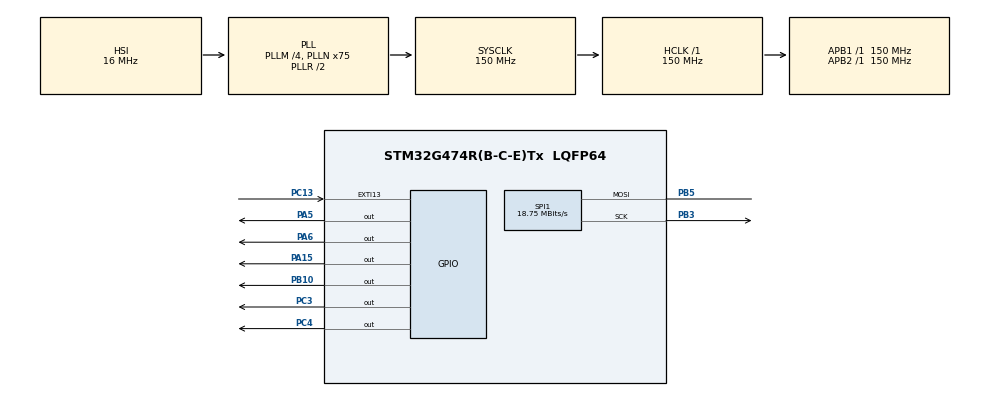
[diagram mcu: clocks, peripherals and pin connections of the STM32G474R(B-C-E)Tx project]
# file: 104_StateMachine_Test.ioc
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Dma.Request0=SPI1_TX
Dma.SPI1_TX.0.Direction=DMA_MEMORY_TO_PERIPH
Dma.SPI1_TX.0.EventEnable=DISABLE
Dma.SPI1_TX.0.Instance=DMA1_Channel1
Dma.SPI1_TX.0.MemDataAlignment=DMA_MDATAALIGN_BYTE
Dma.SPI1_TX.0.MemInc=DMA_MINC_ENABLE
Dma.SPI1_TX.0.Mode=DMA_NORMAL
Dma.SPI1_TX.0.PeriphDataAlignment=DMA_PDATAALIGN_BYTE
Dma.SPI1_TX.0.PeriphInc=DMA_PINC_DISABLE
Dma.SPI1_TX.0.Polarity=HAL_DMAMUX_REQ_GEN_RISING
Dma.SPI1_TX.0.Priority=DMA_PRIORITY_LOW
Dma.SPI1_TX.0.RequestNumber=1
Dma.SPI1_TX.0.SignalID=NONE
Dma.SPI1_TX.0.SyncEnable=DISABLE
Dma.SPI1_TX.0.SyncPolarity=HAL_DMAMUX_SYNC_NO_EVENT
Dma.SPI1_TX.0.SyncRequestNumber=1
Dma.SPI1_TX.0.SyncSignalID=NONE
Mcu.Family=STM32G4
Mcu.Name=STM32G474R(B-C-E)Tx
Mcu.Package=LQFP64
NVIC.DMA1_Channel1_IRQn=true\:0\:0\:false\:false\:true\:false\:true\:true
NVIC.EXTI15_10_IRQn=true\:0\:0\:false\:false\:true\:true\:true\:true
NVIC.PriorityGroup=NVIC_PRIORITYGROUP_4
NVIC.TIM1_TRG_COM_TIM17_IRQn=true\:0\:0\:false\:false\:true\:true\:true\:true
NVIC.TIM1_UP_TIM16_IRQn=true\:0\:0\:false\:false\:true\:true\:true\:true
PA15.Signal=GPIO_Output
PA5.Signal=GPIO_Output
PA6.Signal=GPIO_Output
PB10.Signal=GPIO_Output
PB3.Mode=Simplex_Bidirectional_Master
PB3.Signal=SPI1_SCK
PB5.Mode=Simplex_Bidirectional_Master
PB5.Signal=SPI1_MOSI
PC13.GPIO_ModeDefaultEXTI=GPIO_MODE_IT_FALLING
PC13.Signal=GPXTI13
PC3.Signal=GPIO_Output
PC4.Signal=GPIO_Output
PF0-OSC_IN.Mode=HSE-External-Oscillator
PF0-OSC_IN.Signal=RCC_OSC_IN
PF1-OSC_OUT.Mode=HSE-External-Oscillator
PF1-OSC_OUT.Signal=RCC_OSC_OUT
ProjectManager.HeapSize=0x200
ProjectManager.StackSize=0x400
ProjectManager.TargetToolchain=STM32CubeIDE
RCC.ADC12Freq_Value=150000000
RCC.ADC345Freq_Value=150000000
RCC.AHBFreq_Value=150000000
RCC.APB1Freq_Value=150000000
RCC.APB1TimFreq_Value=150000000
RCC.APB2Freq_Value=150000000
RCC.APB2TimFreq_Value=150000000
RCC.CortexFreq_Value=150000000
RCC.EXTERNAL_CLOCK_VALUE=12288000
RCC.HCLKFreq_Value=150000000
RCC.HSE_VALUE=48000000
RCC.HSI48_VALUE=48000000
RCC.HSI_VALUE=16000000
RCC.LSE_VALUE=32768
RCC.PLLM=RCC_PLLM_DIV4
RCC.PLLN=75
RCC.SYSCLKFreq_VALUE=150000000
RCC.SYSCLKSource=RCC_SYSCLKSOURCE_PLLCLK
RCC.USBFreq_Value=150000000
RCC.VCOOutputFreq_Value=300000000
SPI1.BaudRatePrescaler=SPI_BAUDRATEPRESCALER_8
SPI1.CLKPolarity=SPI_POLARITY_LOW
SPI1.CalculateBaudRate=18.75 MBits/s
SPI1.DataSize=SPI_DATASIZE_8BIT
SPI1.Direction=SPI_DIRECTION_1LINE
SPI1.Mode=SPI_MODE_MASTER
SPI1.VirtualType=VM_MASTER
TIM16.PeriodNoDither=1000
TIM16.Prescaler=15000 - 1
TIM17.PeriodNoDither=20000
TIM17.Prescaler=15000 - 1
VP_SYS_VS_DBSignals.Mode=DisableDeadBatterySignals
VP_TIM16_VS_ClockSourceINT.Mode=Enable_Timer
VP_TIM17_VS_ClockSourceINT.Mode=Enable_Timer
board=custom

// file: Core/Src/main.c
/* USER CODE BEGIN Header */
/**
 ******************************************************************************
 * @file           : main.c
 * @brief          : Main program body
 ******************************************************************************
 * @attention
 *
 * Copyright (c) 2024 STMicroelectronics.
 * All rights reserved.
 *
 * This software is licensed under terms that can be found in the LICENSE file
 * in the root directory of this software component.
 * If no LICENSE file comes with this software, it is provided AS-IS.
 *
 ******************************************************************************
 */
/* USER CODE END Header */
#include "main.h"

/* USER CODE BEGIN Includes */
#include "ST7735.h"
#include "GFX_FUNCTIONS.h"
#include "task_handler.h"
/* USER CODE END Includes */

SPI_HandleTypeDef hspi1;
DMA_HandleTypeDef hdma_spi1_tx;

TIM_HandleTypeDef htim16;
TIM_HandleTypeDef htim17;

/* USER CODE BEGIN PV */
uint8_t button_flag = 0;

/* USER CODE END PV */

void SystemClock_Config(void);
static void MX_GPIO_Init(void);
static void MX_DMA_Init(void);
static void MX_SPI1_Init(void);
static void MX_TIM16_Init(void);
static void MX_TIM17_Init(void);

/* USER CODE BEGIN 0 */

/* Interrupts *****************************************************************/
// GPIO Callback
// Diese Callback Funktion wird beim drücken des Taster B1 aufgerufen
void HAL_GPIO_EXTI_Callback(uint16_t GPIO_Pin) {
	if (handler_state == IDLE && button_flag == 0) {
		set_handler_state(LEDON);
		// Start Timer 17
		HAL_TIM_Base_Start_IT(&htim17);
	} else if (handler_state == LEDON) {
		set_handler_state(LEDBLINK);
		// Start Timer 17
		HAL_TIM_Base_Start_IT(&htim17);
	} else if (handler_state == LEDBLINK) {
		set_handler_state(LEDON);
		// Start Timer 17
		HAL_TIM_Base_Start_IT(&htim17);
	} else {
		set_handler_state(IDLE);
		button_flag = 0;
	}
}

// Timer Callback
// Diese Callback Funktion wird immer nach erreichen des Timer maximums aufgerufen
void HAL_TIM_PeriodElapsedCallback(TIM_HandleTypeDef *htim) {
	// Überprüfe welcher Timer diese callback Funktion aufruft
	if (htim == &htim16) {
		// Toggle PC3 alle 100ms
		HAL_GPIO_TogglePin(GPIOC, GPIO_PIN_3);
		// Handler Zeit um 100ms erhöhen
		if (handler_state == LEDBLINK) {
			inc_handler_currentTime(100);
		}
	} else if (htim == &htim17) {
		if (HAL_GPIO_ReadPin(B1, B1_PIN)) {
			set_handler_state(IDLE);
			HAL_TIM_Base_Stop_IT(&htim17);
			button_flag = 1;
		}
		// Toggle PC4 alle 1s
		HAL_GPIO_TogglePin(GPIOC, GPIO_PIN_4);
	}
}

/* USER CODE END 0 */

int main(void) {

	/* MCU Configuration--------------------------------------------------------*/

	/* Reset of all peripherals, Initializes the Flash interface and the Systick. */
	HAL_Init();

	/* Configure the system clock */
	SystemClock_Config();

	/* Initialize all configured peripherals */
	MX_GPIO_Init();
	MX_DMA_Init();
	MX_SPI1_Init();
	MX_TIM16_Init();
	MX_TIM17_Init();
	/* USER CODE BEGIN 2 */

	// Display Init
	ST7735_Init(1);
	fillScreen(BLACK);

	// Start Timer 16
	HAL_TIM_Base_Start_IT(&htim16); // Starte Timer 16 im Interrupt Modus

	// Set first State
	set_handler_state(IDLE);

	/* USER CODE END 2 */

	/* Infinite loop */
	while (1) {

		/* USER CODE BEGIN 3 */
		// Run StateMachine
		handler_task();
	}
	/* USER CODE END 3 */
}

void SystemClock_Config(void) {
	RCC_OscInitTypeDef RCC_OscInitStruct = { 0 };
	RCC_ClkInitTypeDef RCC_ClkInitStruct = { 0 };

	/** Configure the main internal regulator output voltage
	 */
	HAL_PWREx_ControlVoltageScaling(PWR_REGULATOR_VOLTAGE_SCALE1);

	/** Initializes the RCC Oscillators according to the specified parameters
	 * in the RCC_OscInitTypeDef structure.
	 */
	RCC_OscInitStruct.OscillatorType = RCC_OSCILLATORTYPE_HSI;
	RCC_OscInitStruct.HSIState = RCC_HSI_ON;
	RCC_OscInitStruct.HSICalibrationValue = RCC_HSICALIBRATION_DEFAULT;
	RCC_OscInitStruct.PLL.PLLState = RCC_PLL_ON;
	RCC_OscInitStruct.PLL.PLLSource = RCC_PLLSOURCE_HSI;
	RCC_OscInitStruct.PLL.PLLM = RCC_PLLM_DIV4;
	RCC_OscInitStruct.PLL.PLLN = 75;
	RCC_OscInitStruct.PLL.PLLP = RCC_PLLP_DIV2;
	RCC_OscInitStruct.PLL.PLLQ = RCC_PLLQ_DIV2;
	RCC_OscInitStruct.PLL.PLLR = RCC_PLLR_DIV2;
	if (HAL_RCC_OscConfig(&RCC_OscInitStruct) != HAL_OK) {
		Error_Handler();
	}

	/** Initializes the CPU, AHB and APB buses clocks
	 */
	RCC_ClkInitStruct.ClockType = RCC_CLOCKTYPE_HCLK | RCC_CLOCKTYPE_SYSCLK
			| RCC_CLOCKTYPE_PCLK1 | RCC_CLOCKTYPE_PCLK2;
	RCC_ClkInitStruct.SYSCLKSource = RCC_SYSCLKSOURCE_PLLCLK;
	RCC_ClkInitStruct.AHBCLKDivider = RCC_SYSCLK_DIV1;
	RCC_ClkInitStruct.APB1CLKDivider = RCC_HCLK_DIV1;
	RCC_ClkInitStruct.APB2CLKDivider = RCC_HCLK_DIV1;

	if (HAL_RCC_ClockConfig(&RCC_ClkInitStruct, FLASH_LATENCY_4) != HAL_OK) {
		Error_Handler();
	}
}

static void MX_SPI1_Init(void) {

	/* SPI1 parameter configuration*/
	hspi1.Instance = SPI1;
	hspi1.Init.Mode = SPI_MODE_MASTER;
	hspi1.Init.Direction = SPI_DIRECTION_1LINE;
	hspi1.Init.DataSize = SPI_DATASIZE_8BIT;
	hspi1.Init.CLKPolarity = SPI_POLARITY_LOW;
	hspi1.Init.CLKPhase = SPI_PHASE_1EDGE;
	hspi1.Init.NSS = SPI_NSS_SOFT;
	hspi1.Init.BaudRatePrescaler = SPI_BAUDRATEPRESCALER_8;
	hspi1.Init.FirstBit = SPI_FIRSTBIT_MSB;
	hspi1.Init.TIMode = SPI_TIMODE_DISABLE;
	hspi1.Init.CRCCalculation = SPI_CRCCALCULATION_DISABLE;
	hspi1.Init.CRCPolynomial = 7;
	hspi1.Init.CRCLength = SPI_CRC_LENGTH_DATASIZE;
	hspi1.Init.NSSPMode = SPI_NSS_PULSE_ENABLE;
	if (HAL_SPI_Init(&hspi1) != HAL_OK) {
		Error_Handler();
	}

}

static void MX_TIM16_Init(void) {

	htim16.Instance = TIM16;
	htim16.Init.Prescaler = 15000 - 1;
	htim16.Init.CounterMode = TIM_COUNTERMODE_UP;
	htim16.Init.Period = 1000;
	htim16.Init.ClockDivision = TIM_CLOCKDIVISION_DIV1;
	htim16.Init.RepetitionCounter = 0;
	htim16.Init.AutoReloadPreload = TIM_AUTORELOAD_PRELOAD_DISABLE;
	if (HAL_TIM_Base_Init(&htim16) != HAL_OK) {
		Error_Handler();
	}

}

static void MX_TIM17_Init(void) {

	htim17.Instance = TIM17;
	htim17.Init.Prescaler = 15000 - 1;
	htim17.Init.CounterMode = TIM_COUNTERMODE_UP;
	htim17.Init.Period = 20000;
	htim17.Init.ClockDivision = TIM_CLOCKDIVISION_DIV1;
	htim17.Init.RepetitionCounter = 0;
	htim17.Init.AutoReloadPreload = TIM_AUTORELOAD_PRELOAD_DISABLE;
	if (HAL_TIM_Base_Init(&htim17) != HAL_OK) {
		Error_Handler();
	}

}

static void MX_DMA_Init(void) {

	/* DMA controller clock enable */
	__HAL_RCC_DMAMUX1_CLK_ENABLE();
	__HAL_RCC_DMA1_CLK_ENABLE();

	/* DMA interrupt init */
	/* DMA1_Channel1_IRQn interrupt configuration */
	HAL_NVIC_SetPriority(DMA1_Channel1_IRQn, 0, 0);
	HAL_NVIC_EnableIRQ(DMA1_Channel1_IRQn);

}

static void MX_GPIO_Init(void) {
	GPIO_InitTypeDef GPIO_InitStruct = { 0 };

	/* GPIO Ports Clock Enable */
	__HAL_RCC_GPIOC_CLK_ENABLE();
	__HAL_RCC_GPIOF_CLK_ENABLE();
	__HAL_RCC_GPIOA_CLK_ENABLE();
	__HAL_RCC_GPIOB_CLK_ENABLE();

	/*Configure GPIO pin Output Level */
	HAL_GPIO_WritePin(GPIOC, GPIO_PIN_3 | GPIO_PIN_4, GPIO_PIN_RESET);

	/*Configure GPIO pin Output Level */
	HAL_GPIO_WritePin(GPIOA, GPIO_PIN_5 | GPIO_PIN_6 | GPIO_PIN_15,
			GPIO_PIN_RESET);

	/*Configure GPIO pin Output Level */
	HAL_GPIO_WritePin(GPIOB, GPIO_PIN_10, GPIO_PIN_RESET);

	/*Configure GPIO pin : PC13 */
	GPIO_InitStruct.Pin = GPIO_PIN_13;
	GPIO_InitStruct.Mode = GPIO_MODE_IT_FALLING;
	GPIO_InitStruct.Pull = GPIO_NOPULL;
	HAL_GPIO_Init(GPIOC, &GPIO_InitStruct);

	/*Configure GPIO pins : PC3 PC4 */
	GPIO_InitStruct.Pin = GPIO_PIN_3 | GPIO_PIN_4;
	GPIO_InitStruct.Mode = GPIO_MODE_OUTPUT_PP;
	GPIO_InitStruct.Pull = GPIO_NOPULL;
	GPIO_InitStruct.Speed = GPIO_SPEED_FREQ_LOW;
	HAL_GPIO_Init(GPIOC, &GPIO_InitStruct);

	/*Configure GPIO pins : PA5 PA6 PA15 */
	GPIO_InitStruct.Pin = GPIO_PIN_5 | GPIO_PIN_6 | GPIO_PIN_15;
	GPIO_InitStruct.Mode = GPIO_MODE_OUTPUT_PP;
	GPIO_InitStruct.Pull = GPIO_NOPULL;
	GPIO_InitStruct.Speed = GPIO_SPEED_FREQ_LOW;
	HAL_GPIO_Init(GPIOA, &GPIO_InitStruct);

	/*Configure GPIO pin : PB10 */
	GPIO_InitStruct.Pin = GPIO_PIN_10;
	GPIO_InitStruct.Mode = GPIO_MODE_OUTPUT_PP;
	GPIO_InitStruct.Pull = GPIO_NOPULL;
	GPIO_InitStruct.Speed = GPIO_SPEED_FREQ_LOW;
	HAL_GPIO_Init(GPIOB, &GPIO_InitStruct);

	/* EXTI interrupt init*/
	HAL_NVIC_SetPriority(EXTI15_10_IRQn, 0, 0);
	HAL_NVIC_EnableIRQ(EXTI15_10_IRQn);

}

void Error_Handler(void) {
	__disable_irq();
	while (1) {
	}
}
